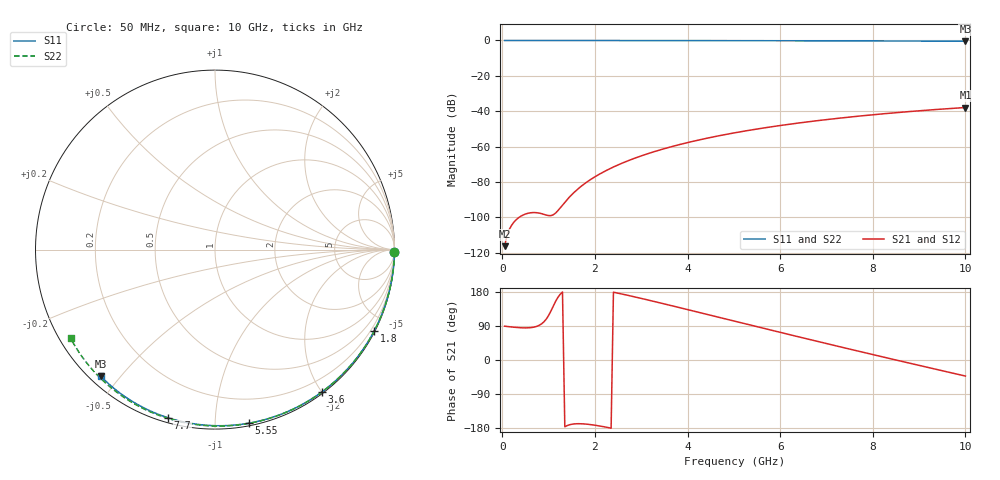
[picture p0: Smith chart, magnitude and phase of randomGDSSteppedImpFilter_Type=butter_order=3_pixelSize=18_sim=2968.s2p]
! freq	dB(S11)	phase(S11)	dB(S12)	phase(S12)
!  dB(S21)	phase(S21)	dB(S22)	phase(S22)
!S-par simulation data
#  GHz  S  DB  R 50
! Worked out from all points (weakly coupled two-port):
!   200 points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, 50 MHz to 10 GHz, reference 50 ohm
!   highest |S21| = -37.88 dB at 10 GHz (marker M1); lowest = -116.2 dB at 50 MHz (marker M2)
!   lowest |S11| = -0.4 dB at 10 GHz (marker M3), VSWR 39.16, Z = 1.53 - j22.2 ohm
!   |S11| at or under -10 dB: nowhere
!   |S22| runs from -0.5 to 0.0 dB; largest |S21 - S12| = 0
!   S11 on the Smith chart (normalised r, x): 50 MHz: open; 1.8 GHz: 0.04, -4.15; 3.6 GHz: 0.02, -2.01; 5.55 GHz: 0.02, -1.21; 7.7 GHz: 0.02, -0.76; 10 GHz: 0.03, -0.44
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0.05  -0.00 -0.8  -116.23 89.2  -116.23 89.2  -0.00 -0.9
0.45  -0.01 -6.9  -98.61 84.8  -98.61 84.8  -0.01 -7.7
0.9  -0.02 -13.7  -98.26 100.8  -98.26 100.8  -0.02 -15.4
1.3  -0.02 -19.7  -92.99 179.5  -92.99 179.5  -0.03 -22.2
1.75  -0.03 -26.3  -81.45 -168.6  -81.45 -168.6  -0.04 -29.7
1.8  -0.03 -27.1  -80.48 -169.0  -80.48 -169.0  -0.04 -30.5
1.85  -0.04 -27.8  -79.56 -169.6  -79.56 -169.6  -0.04 -31.3
2.05  -0.04 -30.8  -76.25 -173.1  -76.25 -173.1  -0.04 -34.6
2.2  -0.04 -32.9  -74.09 -176.3  -74.09 -176.3  -0.05 -37.1
2.55  -0.05 -38.0  -69.75 175.0  -69.75 175.0  -0.05 -42.8
2.95  -0.06 -43.8  -65.68 164.0  -65.68 164.0  -0.06 -49.2
3.4  -0.07 -50.1  -61.88 150.9  -61.88 150.9  -0.07 -56.4
3.6  -0.07 -52.9  -60.39 145.0  -60.39 145.0  -0.08 -59.5
4.3  -0.09 -62.6  -55.90 124.0  -55.90 124.0  -0.10 -70.2
5.05  -0.11 -72.6  -52.02 101.5  -52.02 101.5  -0.12 -81.3
5.55  -0.13 -79.1  -49.83 86.4  -49.83 86.4  -0.14 -88.5
6.1  -0.15 -86.1  -47.70 70.0  -47.70 70.0  -0.17 -96.3
6.7  -0.18 -93.5  -45.65 52.2  -45.65 52.2  -0.20 -104.6
7.7  -0.24 -105.6  -42.75 23.0  -42.75 23.0  -0.27 -118.1
8.35  -0.29 -113.2  -41.15 4.3  -41.15 4.3  -0.32 -126.7
9.2  -0.36 -123.0  -39.34 -19.9  -39.34 -19.9  -0.41 -137.9
10  -0.44 -132.1  -37.88 -42.3  -37.88 -42.3  -0.50 -148.4
